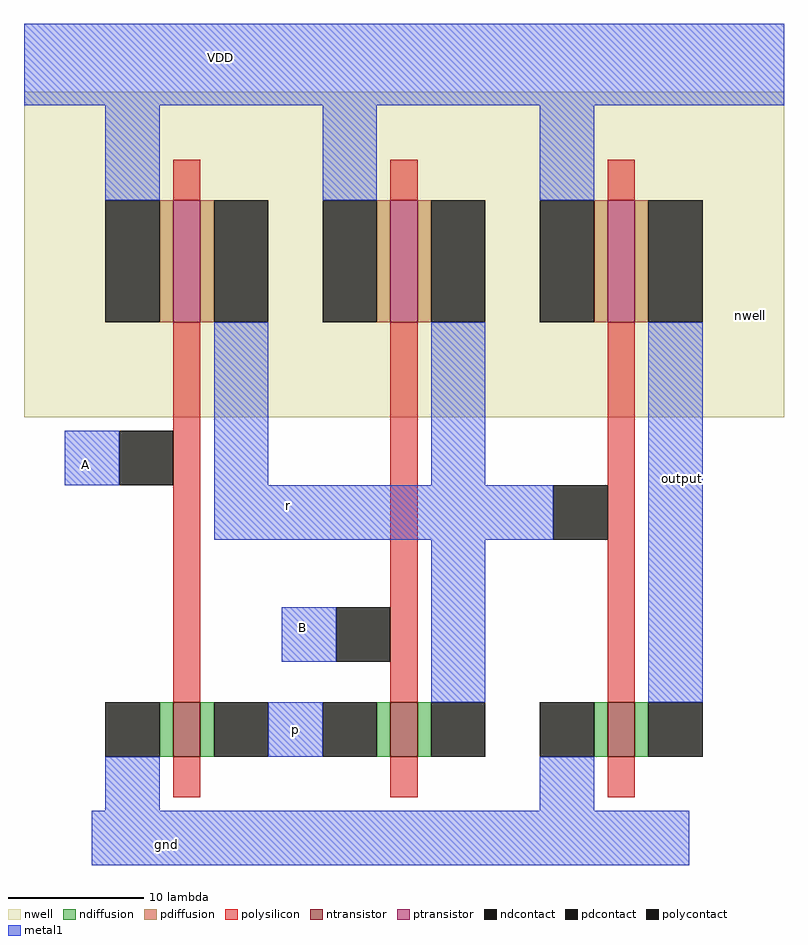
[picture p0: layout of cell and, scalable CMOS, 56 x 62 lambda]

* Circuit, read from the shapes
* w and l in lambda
.subckt and A B VDD gnd nwell output p r
M1 p A gnd VSUBS nfet w=4 l=2
M2 r B p VSUBS nfet w=4 l=2
M3 output r gnd VSUBS nfet w=4 l=2
M4 r A VDD nwell pfet w=9 l=2
M5 r B VDD nwell pfet w=9 l=2
M6 output r VDD nwell pfet w=9 l=2
.ends

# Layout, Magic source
magic
tech scmos
<< nwell >>
rect -23 -23 33 1
<< ntransistor >>
rect -12 -48 -10 -44
rect 4 -48 6 -44
rect 20 -48 22 -44
<< ptransistor >>
rect -12 -16 -10 -7
rect 4 -16 6 -7
rect 20 -16 22 -7
<< ndiffusion >>
rect -13 -48 -12 -44
rect -10 -48 -9 -44
rect 3 -48 4 -44
rect 6 -48 7 -44
rect 19 -48 20 -44
rect 22 -48 23 -44
<< pdiffusion >>
rect -13 -16 -12 -7
rect -10 -16 -9 -7
rect 3 -16 4 -7
rect 6 -16 7 -7
rect 19 -16 20 -7
rect 22 -16 23 -7
<< ndcontact >>
rect -17 -48 -13 -44
rect -9 -48 -5 -44
rect -1 -48 3 -44
rect 7 -48 11 -44
rect 15 -48 19 -44
rect 23 -48 27 -44
<< pdcontact >>
rect -17 -16 -13 -7
rect -9 -16 -5 -7
rect -1 -16 3 -7
rect 7 -16 11 -7
rect 15 -16 19 -7
rect 23 -16 27 -7
<< polysilicon >>
rect -12 -7 -10 -4
rect 4 -7 6 -4
rect 20 -7 22 -4
rect -12 -44 -10 -16
rect 4 -44 6 -16
rect 20 -44 22 -16
rect -12 -51 -10 -48
rect 4 -51 6 -48
rect 20 -51 22 -48
<< polycontact >>
rect -16 -28 -12 -24
rect 0 -41 4 -37
rect 16 -32 20 -28
<< metal1 >>
rect -23 0 33 6
rect -17 -7 -13 0
rect -1 -7 3 0
rect 15 -7 19 0
rect -20 -28 -16 -24
rect -9 -28 -5 -16
rect 7 -28 11 -16
rect -9 -32 16 -28
rect -4 -41 0 -37
rect 7 -44 11 -32
rect 23 -44 27 -16
rect -5 -48 -1 -44
rect -17 -52 -13 -48
rect 15 -52 19 -48
rect -18 -56 26 -52
<< labels >>
rlabel metal1 -9 3 -8 4 5 VDD
rlabel metal1 -19 -27 -18 -26 3 A
rlabel nwell 30 -16 31 -15 7 nwell
rlabel metal1 25 -28 26 -27 1 output
rlabel metal1 -3 -39 -2 -38 1 B
rlabel metal1 -5 -48 -1 -44 1 p
rlabel metal1 -13 -55 -12 -54 1 gnd
rlabel metal1 -4 -30 -3 -29 1 r
<< end >>
